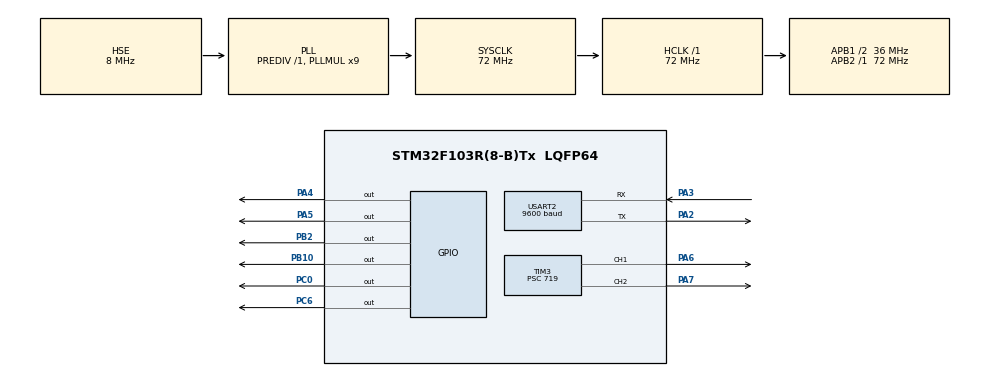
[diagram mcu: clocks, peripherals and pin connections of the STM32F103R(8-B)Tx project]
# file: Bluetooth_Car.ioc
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Mcu.Family=STM32F1
Mcu.Name=STM32F103R(8-B)Tx
Mcu.Package=LQFP64
NVIC.PriorityGroup=NVIC_PRIORITYGROUP_4
NVIC.USART2_IRQn=true\:0\:0\:false\:false\:true\:true\:true\:true
PA13.Mode=Serial_Wire
PA13.Signal=SYS_JTMS-SWDIO
PA14.Mode=Serial_Wire
PA14.Signal=SYS_JTCK-SWCLK
PA2.Mode=Asynchronous
PA2.Signal=USART2_TX
PA3.Mode=Asynchronous
PA3.Signal=USART2_RX
PA4.Signal=GPIO_Output
PA5.Signal=GPIO_Output
PA6.Signal=S_TIM3_CH1
PA7.Signal=S_TIM3_CH2
PB10.Signal=GPIO_Output
PB2.Signal=GPIO_Output
PC0.PinState=GPIO_PIN_SET
PC0.Signal=GPIO_Output
PC6.PinState=GPIO_PIN_SET
PC6.Signal=GPIO_Output
PD0-OSC_IN.Mode=HSE-External-Oscillator
PD0-OSC_IN.Signal=RCC_OSC_IN
PD1-OSC_OUT.Mode=HSE-External-Oscillator
PD1-OSC_OUT.Signal=RCC_OSC_OUT
ProjectManager.HeapSize=0x200
ProjectManager.StackSize=0x400
ProjectManager.TargetToolchain=MDK-ARM V5
RCC.AHBFreq_Value=72000000
RCC.APB1CLKDivider=RCC_HCLK_DIV2
RCC.APB1Freq_Value=36000000
RCC.APB1TimFreq_Value=72000000
RCC.APB2Freq_Value=72000000
RCC.APB2TimFreq_Value=72000000
RCC.HCLKFreq_Value=72000000
RCC.PLLMUL=RCC_PLL_MUL9
RCC.PLLSourceVirtual=RCC_PLLSOURCE_HSE
RCC.SYSCLKFreq_VALUE=72000000
RCC.SYSCLKSource=RCC_SYSCLKSOURCE_PLLCLK
RCC.USBFreq_Value=72000000
SH.S_TIM3_CH1.0=TIM3_CH1,PWM Generation1 CH1
SH.S_TIM3_CH2.0=TIM3_CH2,PWM Generation2 CH2
TIM3.Channel-PWM\ Generation1\ CH1=TIM_CHANNEL_1
TIM3.Channel-PWM\ Generation2\ CH2=TIM_CHANNEL_2
TIM3.Period=99
TIM3.Prescaler=719
USART2.BaudRate=9600
USART2.VirtualMode=VM_ASYNC
board=custom

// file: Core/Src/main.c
/* USER CODE BEGIN Header */
/**
  ******************************************************************************
  * @file           : main.c
  * @brief          : Main program body
  ******************************************************************************
  * @attention
  *
  * Copyright (c) 2023 STMicroelectronics.
  * All rights reserved.
  *
  * This software is licensed under terms that can be found in the LICENSE file
  * in the root directory of this software component.
  * If no LICENSE file comes with this software, it is provided AS-IS.
  *
  ******************************************************************************
  */
/* USER CODE END Header */
#include "main.h"
#include "tim.h"
#include "usart.h"
#include "gpio.h"

/* USER CODE BEGIN Includes */

#include "./user/movement.h"

/* USER CODE END Includes */

/* USER CODE BEGIN PV */

int key =0;
uint8_t data;

/* USER CODE END PV */

void SystemClock_Config(void);

int main(void)
{

  /* MCU Configuration--------------------------------------------------------*/

  /* Reset of all peripherals, Initializes the Flash interface and the Systick. */
  HAL_Init();

  /* Configure the system clock */
  SystemClock_Config();

  /* Initialize all configured peripherals */
  MX_GPIO_Init();
  MX_TIM3_Init();
  MX_USART2_UART_Init();
  /* USER CODE BEGIN 2 */

	HAL_TIM_PWM_Start(&htim3,TIM_CHANNEL_1);
	HAL_TIM_PWM_Start(&htim3,TIM_CHANNEL_2);

  /* USER CODE END 2 */

  /* Infinite loop */
  while (1)
  {

    /* USER CODE BEGIN 3 */

		HAL_UART_Receive(&huart2,(uint8_t *)&data,sizeof(data),10);

		if(data==1){
			key=1;
		}else if(data==2){
			key=2;
		}else if(data==3){
			key=3;
		}else if(data==4){
			key=4;
		}else{
			key=0;
		}

		switch(key)
		{
			case 1:
				run(40);
				HAL_GPIO_WritePin(GPIOC,GPIO_PIN_0,GPIO_PIN_RESET);
				break;
			case 2:
				right(40);
				HAL_GPIO_WritePin(GPIOC,GPIO_PIN_0,GPIO_PIN_SET);
				break;
			case 3:
				left(40);
				HAL_GPIO_WritePin(GPIOC,GPIO_PIN_6,GPIO_PIN_RESET);
				break;
			case 4:
				back(40);
				HAL_GPIO_WritePin(GPIOC,GPIO_PIN_6,GPIO_PIN_SET);
				break;
			default:
				brake();
				HAL_GPIO_WritePin(GPIOC,GPIO_PIN_0,GPIO_PIN_SET);
				HAL_GPIO_WritePin(GPIOC,GPIO_PIN_6,GPIO_PIN_SET);
				break;
		}

		HAL_Delay(10);

  }
  /* USER CODE END 3 */
}

void SystemClock_Config(void)
{
  RCC_OscInitTypeDef RCC_OscInitStruct = {0};
  RCC_ClkInitTypeDef RCC_ClkInitStruct = {0};

  /** Initializes the RCC Oscillators according to the specified parameters
  * in the RCC_OscInitTypeDef structure.
  */
  RCC_OscInitStruct.OscillatorType = RCC_OSCILLATORTYPE_HSE;
  RCC_OscInitStruct.HSEState = RCC_HSE_ON;
  RCC_OscInitStruct.HSEPredivValue = RCC_HSE_PREDIV_DIV1;
  RCC_OscInitStruct.HSIState = RCC_HSI_ON;
  RCC_OscInitStruct.PLL.PLLState = RCC_PLL_ON;
  RCC_OscInitStruct.PLL.PLLSource = RCC_PLLSOURCE_HSE;
  RCC_OscInitStruct.PLL.PLLMUL = RCC_PLL_MUL9;
  if (HAL_RCC_OscConfig(&RCC_OscInitStruct) != HAL_OK)
  {
    Error_Handler();
  }

  /** Initializes the CPU, AHB and APB buses clocks
  */
  RCC_ClkInitStruct.ClockType = RCC_CLOCKTYPE_HCLK|RCC_CLOCKTYPE_SYSCLK
                              |RCC_CLOCKTYPE_PCLK1|RCC_CLOCKTYPE_PCLK2;
  RCC_ClkInitStruct.SYSCLKSource = RCC_SYSCLKSOURCE_PLLCLK;
  RCC_ClkInitStruct.AHBCLKDivider = RCC_SYSCLK_DIV1;
  RCC_ClkInitStruct.APB1CLKDivider = RCC_HCLK_DIV2;
  RCC_ClkInitStruct.APB2CLKDivider = RCC_HCLK_DIV1;

  if (HAL_RCC_ClockConfig(&RCC_ClkInitStruct, FLASH_LATENCY_2) != HAL_OK)
  {
    Error_Handler();
  }
}

void Error_Handler(void)
{
  __disable_irq();
  while (1)
  {
  }
}
